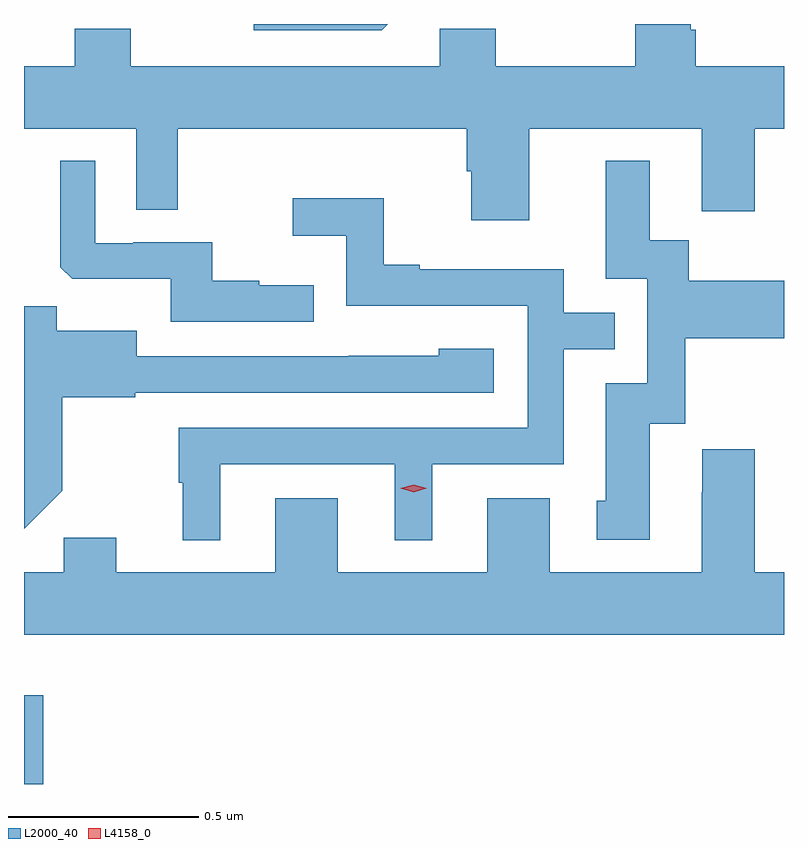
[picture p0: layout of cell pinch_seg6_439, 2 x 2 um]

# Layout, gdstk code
import gdstk
lib = gdstk.Library(unit=1e-6, precision=1e-09)
def R(c, l, rs):  # rectangles x0, y0, x1, y1
    for r in rs: c.add(gdstk.rectangle(r[:2], r[2:], *l))
def P(c, l, *ps):  # polygons
    for p in ps: c.add(gdstk.Polygon(p, *l))
L2000_40 = (2000, 40)
L4158_0 = (4158, 0)

pinch_seg6_439 = lib.new_cell('pinch_seg6_439')
R(pinch_seg6_439, L2000_40, [(708.226,932.291,708.277,932.524)])
P(pinch_seg6_439, L2000_40, [(709.555,934.016),(710.009,934.016),(710.009,933.798),(710.149,933.798),(710.149,934.016),(710.226,934.016),(710.226,934.18),(709.994,934.18),(709.994,934.276),(709.981,934.276),(709.981,934.291),(709.834,934.291),(709.834,934.18),(709.467,934.18),(709.467,934.279),(709.32,934.279),(709.32,934.18),(708.507,934.18),(708.507,934.279),(708.359,934.279),(708.359,934.18),(708.226,934.18),(708.226,934.016),(708.522,934.016),(708.522,933.802),(708.631,933.802),(708.631,934.016),(709.391,934.016),(709.391,933.903),(709.403,933.903),(709.403,933.774),(709.555,933.774)],
  [(709.183,934.291),(708.831,934.291),(708.831,934.275),(709.167,934.275)],
  [(709.873,933.239),(709.966,933.239),(709.966,933.464),(710.226,933.464),(710.226,933.616),(709.975,933.616),(709.975,933.722),(709.873,933.722),(709.873,933.931),(709.757,933.931),(709.757,933.621),(709.866,933.621),(709.866,933.345),(709.757,933.345),(709.757,933.036),(709.733,933.036),(709.733,932.934),(709.873,932.934)],
  [(708.989,933.604),(708.845,933.604),(708.845,933.616),(708.722,933.616),(708.722,933.717),(708.514,933.717),(708.514,933.714),(708.414,933.714),(708.414,933.931),(708.321,933.931),(708.321,933.651),(708.353,933.62),(708.612,933.62),(708.612,933.507),(708.989,933.507)],
  [(708.742,933.132),(709.202,933.132),(709.202,932.933),(709.3,932.933),(709.3,933.132),(709.647,933.132),(709.647,933.435),(709.781,933.435),(709.781,933.531),(709.647,933.531),(709.647,933.645),(709.267,933.645),(709.267,933.658),(709.173,933.658),(709.173,933.833),(708.933,933.833),(708.933,933.734),(709.074,933.734),(709.074,933.549),(709.551,933.549),(709.551,933.228),(708.633,933.228),(708.633,933.084),(708.644,933.084),(708.644,932.933),(708.742,932.933)],
  [(708.327,933.063),(708.327,933.309),(708.519,933.309),(708.519,933.321),(709.462,933.321),(709.462,933.436),(709.317,933.436),(709.317,933.418),(709.081,933.418),(709.081,933.417),(708.523,933.417),(708.523,933.484),(708.312,933.484),(708.312,933.548),(708.226,933.548),(708.226,932.963),(708.227,932.963)],
  [(710.226,932.848),(710.149,932.848),(710.149,933.172),(710.011,933.172),(710.011,933.059),(710.009,933.059),(710.009,932.848),(709.609,932.848),(709.609,933.043),(709.445,933.043),(709.445,932.848),(709.051,932.848),(709.051,933.043),(708.887,933.043),(708.887,932.848),(708.469,932.848),(708.469,932.939),(708.331,932.939),(708.331,932.848),(708.226,932.848),(708.226,932.684),(710.226,932.684)])
P(pinch_seg6_439, L4158_0, [(709.251,933.059),(709.216,933.069),(709.215,933.069),(709.216,933.069),(709.251,933.079),(709.286,933.069),(709.286,933.069),(709.286,933.069)])

lib.write_gds('pinch_seg6_439.gds')
